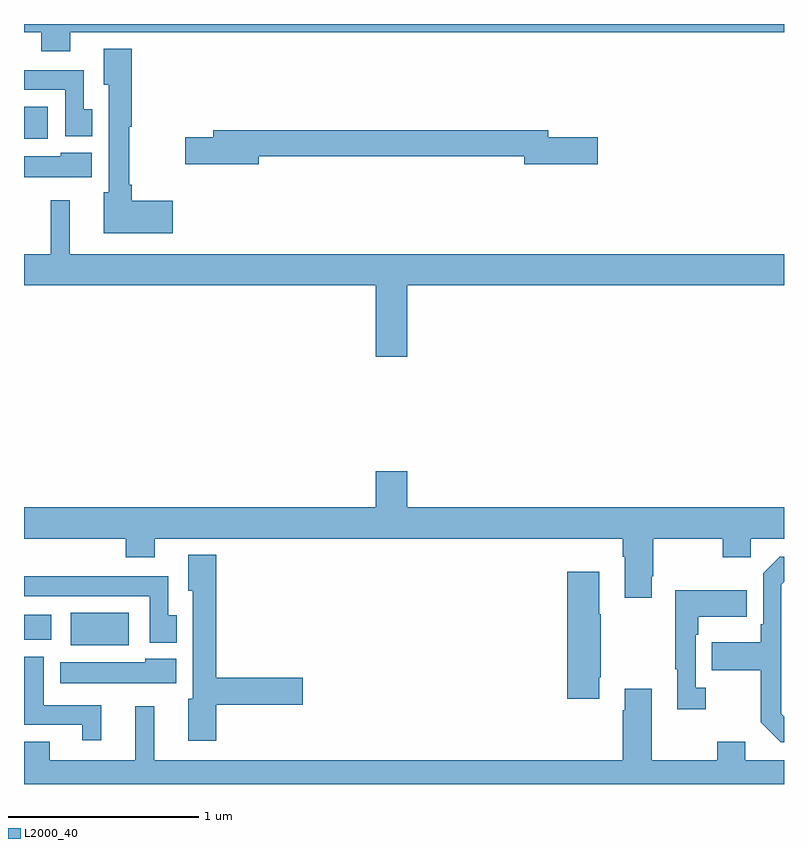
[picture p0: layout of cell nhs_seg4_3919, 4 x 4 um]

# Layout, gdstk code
import gdstk
lib = gdstk.Library(unit=1e-6, precision=1e-09)
def R(c, l, rs):  # rectangles x0, y0, x1, y1
    for r in rs: c.add(gdstk.rectangle(r[:2], r[2:], *l))
def P(c, l, *ps):  # polygons
    for p in ps: c.add(gdstk.Polygon(p, *l))
L2000_40 = (2000, 40)

nhs_seg4_3919 = lib.new_cell('nhs_seg4_3919')
R(nhs_seg4_3919, L2000_40, [(319.247,757.631,319.552,757.801), (319,757.658,319.144,757.792), (319,760.295,319.126,760.465)])
P(nhs_seg4_3919, L2000_40, [(319.243,760.856),(323,760.856),(323,760.9),(319,760.9),(319,760.856),(319.091,760.856),(319.091,760.757),(319.243,760.757)],
  [(319.783,759.971),(319.568,759.971),(319.568,760.054),(319.555,760.054),(319.555,760.359),(319.568,760.359),(319.568,760.771),(319.421,760.771),(319.421,760.581),(319.445,760.581),(319.445,760.014),(319.421,760.014),(319.421,759.8),(319.783,759.8)],
  [(319.36,760.452),(319.315,760.452),(319.315,760.657),(319,760.657),(319,760.553),(319.218,760.553),(319.218,760.308),(319.36,760.308)],
  [(320.236,760.204),(321.632,760.204),(321.632,760.162),(322.021,760.162),(322.021,760.304),(321.76,760.304),(321.76,760.34),(319.997,760.34),(319.997,760.304),(319.848,760.304),(319.848,760.162),(320.236,760.162)],
  [(319.357,760.222),(319.194,760.222),(319.194,760.204),(319,760.204),(319,760.094),(319.357,760.094)],
  [(321.016,759.524),(323,759.524),(323,759.688),(319.241,759.688),(319.241,759.973),(319.142,759.973),(319.142,759.688),(319,759.688),(319,759.524),(320.852,759.524),(320.852,759.15),(321.016,759.15)],
  [(319,758.192),(319.535,758.192),(319.535,758.093),(319.687,758.093),(319.687,758.192),(322.151,758.192),(322.151,758.096),(322.163,758.096),(322.163,757.881),(322.303,757.881),(322.303,757.993),(322.311,757.993),(322.311,758.192),(322.678,758.192),(322.678,758.093),(322.824,758.093),(322.824,758.192),(323,758.192),(323,758.356),(321.016,758.356),(321.016,758.545),(320.852,758.545),(320.852,758.356),(319,758.356)],
  [(320.012,757.318),(320.467,757.318),(320.467,757.46),(320.012,757.46),(320.012,758.107),(319.865,758.107),(319.865,757.917),(319.889,757.917),(319.889,757.35),(319.865,757.35),(319.865,757.128),(320.012,757.128)],
  [(323,757.255),(322.986,757.269),(322.986,757.95),(323,757.964),(323,758.097),(322.977,758.097),(322.89,758.01),(322.89,757.741),(322.878,757.741),(322.878,757.645),(322.621,757.645),(322.621,757.498),(322.878,757.498),(322.878,757.225),(322.983,757.119),(323,757.119)],
  [(322.027,757.462),(322.035,757.462),(322.035,757.793),(322.027,757.793),(322.027,758.017),(321.86,758.017),(321.86,757.35),(322.027,757.35)],
  [(319.804,757.788),(319.759,757.788),(319.759,757.993),(319,757.993),(319,757.889),(319.662,757.889),(319.662,757.644),(319.804,757.644)],
  [(322.588,757.406),(322.536,757.406),(322.536,757.685),(322.549,757.685),(322.549,757.781),(322.805,757.781),(322.805,757.921),(322.428,757.921),(322.428,757.505),(322.439,757.505),(322.439,757.293),(322.588,757.293)],
  [(319.406,757.315),(319.105,757.315),(319.105,757.57),(319,757.57),(319,757.466),(319.001,757.466),(319.001,757.211),(319.307,757.211),(319.307,757.131),(319.406,757.131)],
  [(319.801,757.558),(319.638,757.558),(319.638,757.54),(319.19,757.54),(319.19,757.43),(319.801,757.43)],
  [(323,757.024),(322.795,757.024),(322.795,757.123),(322.648,757.123),(322.648,757.024),(322.303,757.024),(322.303,757.402),(322.163,757.402),(322.163,757.289),(322.151,757.289),(322.151,757.024),(319.685,757.024),(319.685,757.309),(319.586,757.309),(319.586,757.024),(319.135,757.024),(319.135,757.123),(319,757.123),(319,756.9),(323,756.9)])

lib.write_gds('nhs_seg4_3919.gds')
